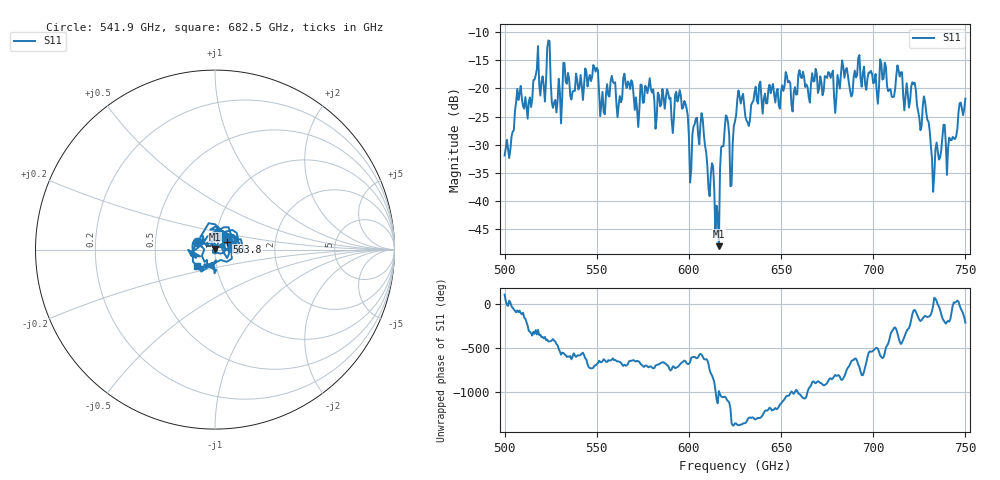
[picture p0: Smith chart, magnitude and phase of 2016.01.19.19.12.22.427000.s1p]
!Created with skrf (http://scikit-rf.org).
# GHz S RI R 50.0
!freq ReS11 ImS11
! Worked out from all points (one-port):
!   401 points, 500 GHz to 750 GHz, reference 50 ohm
!   lowest |S11| = -48.1 dB at 616.2 GHz (marker M1), VSWR 1.01, Z = 50 + j0.391 ohm
!   |S11| at or under -10 dB: start of sweep to end of sweep
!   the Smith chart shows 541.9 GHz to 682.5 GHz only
!   S11 on the Smith chart (normalised r, x): 541.9 GHz: 0.82, +0.07; 563.8 GHz: 1.14, +0.10; 682.5 GHz: 0.81, -0.15
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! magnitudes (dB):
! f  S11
! 500 GHz  -32.0
! 516.9 GHz  -17.6
! 520.6 GHz  -17.8
! 523.8 GHz  -11.4
! 526.9 GHz  -22.5
! 531.2 GHz  -21.6
! 541.9 GHz  -19.5
! 549.4 GHz  -17.0
! 553.1 GHz  -20.6
! 558.8 GHz  -18.8
! 562.5 GHz  -21.4
! 563.8 GHz  -21.8
! 593.8 GHz  -22.3
! 601.2 GHz  -34.6
! 607.5 GHz  -25.5
! 615 GHz  -40.9
! 616.2 GHz  -48.1
! 619.4 GHz  -27.3
! 623.1 GHz  -37.3
! 625 GHz  -25.9
! 656.2 GHz  -24.1
! 682.5 GHz  -17.4
! 687.5 GHz  -20.5
! 705 GHz  -18.4
! 718.8 GHz  -21.0
! 728.1 GHz  -22.4
! 732.5 GHz  -38.4
! 750 GHz  -21.8
